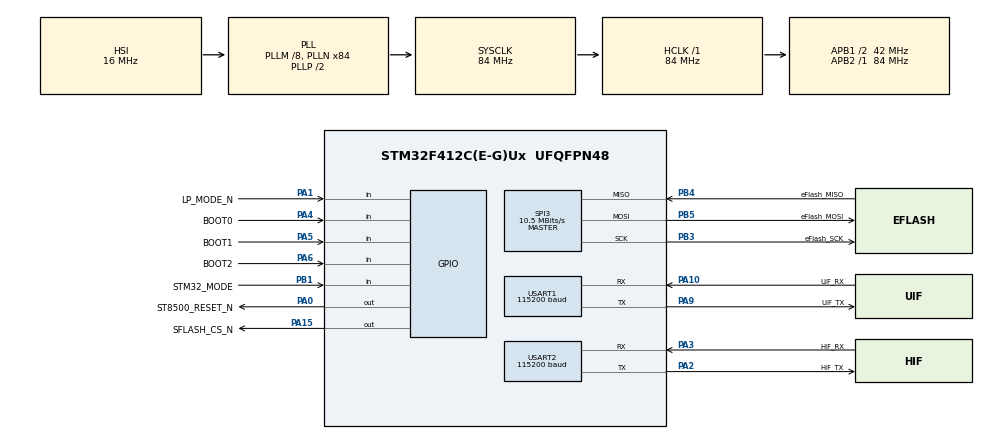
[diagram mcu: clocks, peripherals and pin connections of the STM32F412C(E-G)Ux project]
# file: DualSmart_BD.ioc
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Dma.Request0=SPI3_TX
Dma.Request1=SPI3_RX
Dma.Request2=USART2_RX
Dma.Request3=USART2_TX
Dma.Request4=USART1_TX
Dma.SPI3_RX.1.Direction=DMA_PERIPH_TO_MEMORY
Dma.SPI3_RX.1.FIFOMode=DMA_FIFOMODE_DISABLE
Dma.SPI3_RX.1.Instance=DMA1_Stream0
Dma.SPI3_RX.1.MemDataAlignment=DMA_MDATAALIGN_BYTE
Dma.SPI3_RX.1.MemInc=DMA_MINC_ENABLE
Dma.SPI3_RX.1.Mode=DMA_NORMAL
Dma.SPI3_RX.1.PeriphDataAlignment=DMA_PDATAALIGN_BYTE
Dma.SPI3_RX.1.PeriphInc=DMA_PINC_DISABLE
Dma.SPI3_RX.1.Priority=DMA_PRIORITY_HIGH
Dma.SPI3_TX.0.Direction=DMA_MEMORY_TO_PERIPH
Dma.SPI3_TX.0.FIFOMode=DMA_FIFOMODE_DISABLE
Dma.SPI3_TX.0.Instance=DMA1_Stream7
Dma.SPI3_TX.0.MemDataAlignment=DMA_MDATAALIGN_BYTE
Dma.SPI3_TX.0.MemInc=DMA_MINC_ENABLE
Dma.SPI3_TX.0.Mode=DMA_NORMAL
Dma.SPI3_TX.0.PeriphDataAlignment=DMA_PDATAALIGN_BYTE
Dma.SPI3_TX.0.PeriphInc=DMA_PINC_DISABLE
Dma.SPI3_TX.0.Priority=DMA_PRIORITY_LOW
Dma.USART1_TX.4.Direction=DMA_MEMORY_TO_PERIPH
Dma.USART1_TX.4.FIFOMode=DMA_FIFOMODE_DISABLE
Dma.USART1_TX.4.Instance=DMA2_Stream7
Dma.USART1_TX.4.MemDataAlignment=DMA_MDATAALIGN_BYTE
Dma.USART1_TX.4.MemInc=DMA_MINC_ENABLE
Dma.USART1_TX.4.Mode=DMA_NORMAL
Dma.USART1_TX.4.PeriphDataAlignment=DMA_PDATAALIGN_BYTE
Dma.USART1_TX.4.PeriphInc=DMA_PINC_DISABLE
Dma.USART1_TX.4.Priority=DMA_PRIORITY_LOW
Dma.USART2_RX.2.Direction=DMA_PERIPH_TO_MEMORY
Dma.USART2_RX.2.FIFOMode=DMA_FIFOMODE_DISABLE
Dma.USART2_RX.2.Instance=DMA1_Stream5
Dma.USART2_RX.2.MemDataAlignment=DMA_MDATAALIGN_BYTE
Dma.USART2_RX.2.MemInc=DMA_MINC_ENABLE
Dma.USART2_RX.2.Mode=DMA_NORMAL
Dma.USART2_RX.2.PeriphDataAlignment=DMA_PDATAALIGN_BYTE
Dma.USART2_RX.2.PeriphInc=DMA_PINC_DISABLE
Dma.USART2_RX.2.Priority=DMA_PRIORITY_VERY_HIGH
Dma.USART2_TX.3.Direction=DMA_MEMORY_TO_PERIPH
Dma.USART2_TX.3.FIFOMode=DMA_FIFOMODE_DISABLE
Dma.USART2_TX.3.Instance=DMA1_Stream6
Dma.USART2_TX.3.MemDataAlignment=DMA_MDATAALIGN_BYTE
Dma.USART2_TX.3.MemInc=DMA_MINC_ENABLE
Dma.USART2_TX.3.Mode=DMA_NORMAL
Dma.USART2_TX.3.PeriphDataAlignment=DMA_PDATAALIGN_BYTE
Dma.USART2_TX.3.PeriphInc=DMA_PINC_DISABLE
Dma.USART2_TX.3.Priority=DMA_PRIORITY_MEDIUM
FREERTOS.HEAP_NUMBER=4
FREERTOS.INCLUDE_eTaskGetState=1
FREERTOS.INCLUDE_pcTaskGetTaskName=0
FREERTOS.INCLUDE_uxTaskGetStackHighWaterMark=1
FREERTOS.INCLUDE_uxTaskGetStackHighWaterMark2=0
FREERTOS.INCLUDE_uxTaskPriorityGet=1
FREERTOS.INCLUDE_vTaskCleanUpResources=0
FREERTOS.INCLUDE_vTaskDelay=1
FREERTOS.INCLUDE_vTaskDelayUntil=1
FREERTOS.INCLUDE_vTaskDelete=1
FREERTOS.INCLUDE_vTaskPrioritySet=1
FREERTOS.INCLUDE_vTaskSuspend=1
FREERTOS.INCLUDE_xEventGroupSetBitFromISR=0
FREERTOS.INCLUDE_xQueueGetMutexHolder=1
FREERTOS.INCLUDE_xSemaphoreGetMutexHolder=0
FREERTOS.INCLUDE_xTaskAbortDelay=0
FREERTOS.INCLUDE_xTaskGetCurrentTaskHandle=1
FREERTOS.INCLUDE_xTaskGetHandle=0
FREERTOS.INCLUDE_xTaskGetSchedulerState=1
FREERTOS.INCLUDE_xTaskResumeFromISR=1
FREERTOS.INCLUDE_xTimerPendFunctionCall=1
FREERTOS.Mutexes01=custom_user_rx_mutex,Static,custom_user_rx_mutexControlBlock
FREERTOS.Tasks01=default_task,24,128,start_default_task,As weak,NULL,Static,default_taskBuffer,default_taskControlBlock;custom_user_rx_,8,128,start_custom_user_rx,As weak,&custom_user_rx_mutexHandle,Static,custom_user_rx_Buffer,custom_user_rx_ControlBlock
FREERTOS.configCHECK_FOR_STACK_OVERFLOW=2
FREERTOS.configENABLE_BACKWARD_COMPATIBILITY=0
FREERTOS.configENABLE_FPU=0
FREERTOS.configGENERATE_RUN_TIME_STATS=0
FREERTOS.configIDLE_SHOULD_YIELD=1
FREERTOS.configLIBRARY_LOWEST_INTERRUPT_PRIORITY=15
FREERTOS.configLIBRARY_MAX_SYSCALL_INTERRUPT_PRIORITY=5
FREERTOS.configMAX_CO_ROUTINE_PRIORITIES=2
FREERTOS.configMAX_TASK_NAME_LEN=16
FREERTOS.configMINIMAL_STACK_SIZE=128
FREERTOS.configQUEUE_REGISTRY_SIZE=0
FREERTOS.configRECORD_STACK_HIGH_ADDRESS=1
FREERTOS.configTICK_RATE_HZ=1000
FREERTOS.configTIMER_QUEUE_LENGTH=8
FREERTOS.configTIMER_TASK_PRIORITY=2
FREERTOS.configTIMER_TASK_STACK_DEPTH=200
FREERTOS.configTOTAL_HEAP_SIZE=1024
FREERTOS.configUSE_APPLICATION_TASK_TAG=0
FREERTOS.configUSE_COUNTING_SEMAPHORES=1
FREERTOS.configUSE_CO_ROUTINES=0
FREERTOS.configUSE_DAEMON_TASK_STARTUP_HOOK=0
FREERTOS.configUSE_IDLE_HOOK=0
FREERTOS.configUSE_MALLOC_FAILED_HOOK=1
FREERTOS.configUSE_MUTEXES=1
FREERTOS.configUSE_NEWLIB_REENTRANT=1
FREERTOS.configUSE_OS2_EVENTFLAGS_FROM_ISR=1
FREERTOS.configUSE_OS2_MUTEX=1
FREERTOS.configUSE_OS2_THREAD_ENUMERATE=1
FREERTOS.configUSE_OS2_THREAD_FLAGS=1
FREERTOS.configUSE_OS2_THREAD_SUSPEND_RESUME=1
FREERTOS.configUSE_OS2_TIMER=1
FREERTOS.configUSE_POSIX_ERRNO=0
FREERTOS.configUSE_PREEMPTION=1
FREERTOS.configUSE_RECURSIVE_MUTEXES=1
FREERTOS.configUSE_STATS_FORMATTING_FUNCTIONS=0
FREERTOS.configUSE_TASK_NOTIFICATIONS=1
FREERTOS.configUSE_TICKLESS_IDLE=0
FREERTOS.configUSE_TICK_HOOK=0
FREERTOS.configUSE_TRACE_FACILITY=1
FREERTOS.copyHeapFile=1
Mcu.Family=STM32F4
Mcu.Name=STM32F412C(E-G)Ux
Mcu.Package=UFQFPN48
Mcu.UserConstants=huartHostIf,huart2;hspiSFlash,hspi3;htimSys,htim11;huartUserIf,huart1
NVIC.DMA1_Stream0_IRQn=true\:5\:0\:true\:false\:true\:true\:true\:true\:true
NVIC.DMA1_Stream5_IRQn=true\:5\:0\:true\:false\:true\:true\:true\:true\:true
NVIC.DMA1_Stream6_IRQn=true\:5\:0\:true\:false\:true\:true\:true\:true\:true
NVIC.DMA1_Stream7_IRQn=true\:5\:0\:true\:false\:true\:false\:true\:true\:true
NVIC.DMA2_Stream7_IRQn=true\:5\:0\:true\:false\:true\:true\:true\:true\:true
NVIC.PriorityGroup=NVIC_PRIORITYGROUP_4
NVIC.TIM1_TRG_COM_TIM11_IRQn=true\:15\:0\:false\:false\:true\:false\:true\:true\:true
NVIC.TimeBase=TIM1_TRG_COM_TIM11_IRQn
NVIC.TimeBaseIP=TIM11
NVIC.USART1_IRQn=true\:5\:0\:true\:false\:true\:true\:true\:true\:true
NVIC.USART2_IRQn=true\:5\:0\:true\:false\:true\:true\:true\:true\:true
PA0.GPIO_Label=ST8500_RESET_N
PA0.PinState=GPIO_PIN_RESET
PA0.Signal=GPIO_Output
PA1.GPIO_Label=LP_MODE_N
PA1.Signal=GPIO_Input
PA10.GPIO_Label=UIF_RX
PA10.GPIO_PuPd=GPIO_PULLUP
PA10.GPIO_Speed=GPIO_SPEED_FREQ_VERY_HIGH
PA10.Mode=Asynchronous
PA10.Signal=USART1_RX
PA13.GPIO_Label=SYS_SWDIO
PA13.Mode=Serial_Wire
PA13.Signal=SYS_JTMS-SWDIO
PA14.GPIO_Label=SYS_SWCLK
PA14.Mode=Serial_Wire
PA14.Signal=SYS_JTCK-SWCLK
PA15.GPIO_Label=SFLASH_CS_N
PA15.GPIO_Speed=GPIO_SPEED_FREQ_VERY_HIGH
PA15.Signal=GPIO_Output
PA2.GPIO_Label=HIF_TX
PA2.GPIO_PuPd=GPIO_PULLUP
PA2.GPIO_Speed=GPIO_SPEED_FREQ_VERY_HIGH
PA2.Mode=Asynchronous
PA2.Signal=USART2_TX
PA3.GPIO_Label=HIF_RX
PA3.GPIO_PuPd=GPIO_PULLUP
PA3.GPIO_Speed=GPIO_SPEED_FREQ_VERY_HIGH
PA3.Mode=Asynchronous
PA3.Signal=USART2_RX
PA4.GPIO_Label=BOOT0
PA4.Signal=GPIO_Input
PA5.GPIO_Label=BOOT1
PA5.Signal=GPIO_Input
PA6.GPIO_Label=BOOT2
PA6.Signal=GPIO_Input
PA9.GPIO_Label=UIF_TX
PA9.GPIO_PuPd=GPIO_PULLUP
PA9.GPIO_Speed=GPIO_SPEED_FREQ_VERY_HIGH
PA9.Mode=Asynchronous
PA9.Signal=USART1_TX
PB1.GPIO_Label=STM32_MODE
PB1.GPIO_PuPd=GPIO_PULLDOWN
PB1.Signal=GPIO_Input
PB3.GPIO_Label=eFlash_SCK
PB3.GPIO_PuPd=GPIO_NOPULL
PB3.GPIO_Speed=GPIO_SPEED_FREQ_VERY_HIGH
PB3.Mode=Full_Duplex_Master
PB3.Signal=SPI3_SCK
PB4.GPIO_Label=eFlash_MISO
PB4.GPIO_PuPd=GPIO_NOPULL
PB4.GPIO_Speed=GPIO_SPEED_FREQ_VERY_HIGH
PB4.Mode=Full_Duplex_Master
PB4.Signal=SPI3_MISO
PB5.GPIO_Label=eFlash_MOSI
PB5.GPIO_PuPd=GPIO_NOPULL
PB5.GPIO_Speed=GPIO_SPEED_FREQ_VERY_HIGH
PB5.Mode=Full_Duplex_Master
PB5.Signal=SPI3_MOSI
ProjectManager.HeapSize=0x0
ProjectManager.StackSize=0x400
ProjectManager.TargetToolchain=STM32CubeIDE
RCC.AHBFreq_Value=84000000
RCC.APB1CLKDivider=RCC_HCLK_DIV2
RCC.APB1Freq_Value=42000000
RCC.APB1TimFreq_Value=84000000
RCC.APB2Freq_Value=84000000
RCC.APB2TimFreq_Value=84000000
RCC.CortexFreq_Value=84000000
RCC.FLatency=FLASH_LATENCY_2
RCC.HCLKFreq_Value=84000000
RCC.PLLM=8
RCC.PLLN=84
RCC.SYSCLKFreq_VALUE=84000000
RCC.SYSCLKSource=RCC_SYSCLKSOURCE_PLLCLK
RCC.USBFreq_Value=84000000
RCC.VCOOutputFreq_Value=168000000
SPI3.BaudRatePrescaler=SPI_BAUDRATEPRESCALER_4
SPI3.CLKPhase=SPI_PHASE_2EDGE
SPI3.CLKPolarity=SPI_POLARITY_HIGH
SPI3.CRCCalculation=SPI_CRCCALCULATION_DISABLE
SPI3.CalculateBaudRate=10.5 MBits/s
SPI3.DataSize=SPI_DATASIZE_8BIT
SPI3.Direction=SPI_DIRECTION_2LINES
SPI3.FirstBit=SPI_FIRSTBIT_MSB
SPI3.Mode=SPI_MODE_MASTER
SPI3.NSS=SPI_NSS_SOFT
SPI3.TIMode=SPI_TIMODE_DISABLE
SPI3.VirtualType=VM_MASTER
USART1.BaudRate=115200
USART1.Mode=MODE_TX_RX
USART1.OverSampling=UART_OVERSAMPLING_16
USART1.Parity=PARITY_NONE
USART1.StopBits=STOPBITS_1
USART1.VirtualMode=VM_ASYNC
USART1.WordLength=WORDLENGTH_8B
USART2.BaudRate=115200
USART2.Mode=MODE_TX_RX
USART2.OverSampling=UART_OVERSAMPLING_16
USART2.Parity=PARITY_NONE
USART2.StopBits=STOPBITS_1
USART2.VirtualMode=VM_ASYNC
USART2.WordLength=WORDLENGTH_8B
VP_FREERTOS_VS_CMSIS_V2.Mode=CMSIS_V2
VP_SYS_VS_tim11.Mode=TIM11
board=NUCLEO-G070RB

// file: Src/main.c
/* USER CODE BEGIN Header */
/**
  ******************************************************************************
  * @file           : main.c
  * @brief          : Main program body
  ******************************************************************************
  * @attention
  *
  * <h2><center>&copy; Copyright (c) 2020 STMicroelectronics.
  * All rights reserved.</center></h2>
  *
  * This software component is licensed by ST under Ultimate Liberty license
  * SLA0044, the "License"; You may not use this file except in compliance with
  * the License. You may obtain a copy of the License at:
  *                             www.st.com/SLA0044
  *
  ******************************************************************************
  */
/* USER CODE END Header */
#include "main.h"
#include "cmsis_os.h"
#include "dma.h"
#include "spi.h"
#include "usart.h"
#include "gpio.h"

/* USER CODE BEGIN Includes */
#include <string.h>
#include <mem_pool.h>
#include <utils.h>
#include <debug_print.h>
#include <pin_management.h>
#include <image_download.h>
#include <passthrough.h>
#include <print_task.h>
#include <porting.h>

/* USER CODE END Includes */

void SystemClock_Config(void);
void MX_FREERTOS_Init(void);

int main(void)
{

  /* MCU Configuration--------------------------------------------------------*/

  /* Reset of all peripherals, Initializes the Flash interface and the Systick. */
  HAL_Init();

  /* Configure the system clock */
  SystemClock_Config();

  /* Initialize all configured peripherals */
  MX_GPIO_Init();
  MX_DMA_Init();
  MX_USART1_UART_Init();
  MX_USART2_UART_Init();
  MX_SPI3_Init();
  /* USER CODE BEGIN 2 */

	mem_pool_init();

#if RESET_AT_START
	/* Put ST8500 under reset  */
	assertResetOnST8500();
#endif /* RESET_AT_START */

	/* Reads the boot mode for ST8500 */
	bool download_requested    = (readBootModeST8500() == ST8500_BOOT_FROM_UART);

#if ENABLE_LPMODE
	GPIO_InitTypeDef GPIO_InitStruct = IN_PIN_STR(ST8500_LPMODE_Pin);
	HAL_GPIO_Init(ST8500_LPMODE_GPIO_Port, &GPIO_InitStruct);
#endif /* ENABLE_LPMODE */

	/* Sets the BOOT pins as output and sets their value, according to the boot modes */
	setBootPinsAsOutput(download_requested);
#if RESET_AT_START
	/* Wait for the GPIO to stabilize */
	utils_delay_ms(RESET_PULSE_DURATION);

	/* Releases ST8500 reset and loads its images */
	deassertResetOnST8500();

#endif /* RESET_AT_START */

#if ENABLE_DOWNLOAD
	/* If the ST8500 boots from UART, downloads the image */
	if (download_requested == true)
	{
		/* Downloads both the PE and RTE the images to ST8500 */
		downloadImageToST8500();
	}
	else
	{
		PRINT(RESET_DISPLAY_STRING);
	}
#endif /* ENABLE_DOWNLOAD */
	passthrough_mode();

  /* USER CODE END 2 */

  /* Init scheduler */
  osKernelInitialize();

  /* Call init function for freertos objects (in freertos.c) */
  MX_FREERTOS_Init();

  /* Start scheduler */
  osKernelStart();

  /* We should never get here as control is now taken by the scheduler */
  /* Infinite loop */
  while (1)
  {

  }
}

void SystemClock_Config(void)
{
  RCC_OscInitTypeDef RCC_OscInitStruct = {0};
  RCC_ClkInitTypeDef RCC_ClkInitStruct = {0};

  /** Configure the main internal regulator output voltage
  */
  __HAL_RCC_PWR_CLK_ENABLE();
  __HAL_PWR_VOLTAGESCALING_CONFIG(PWR_REGULATOR_VOLTAGE_SCALE1);

  /** Initializes the RCC Oscillators according to the specified parameters
  * in the RCC_OscInitTypeDef structure.
  */
  RCC_OscInitStruct.OscillatorType = RCC_OSCILLATORTYPE_HSI;
  RCC_OscInitStruct.HSIState = RCC_HSI_ON;
  RCC_OscInitStruct.HSICalibrationValue = RCC_HSICALIBRATION_DEFAULT;
  RCC_OscInitStruct.PLL.PLLState = RCC_PLL_ON;
  RCC_OscInitStruct.PLL.PLLSource = RCC_PLLSOURCE_HSI;
  RCC_OscInitStruct.PLL.PLLM = 8;
  RCC_OscInitStruct.PLL.PLLN = 84;
  RCC_OscInitStruct.PLL.PLLP = RCC_PLLP_DIV2;
  RCC_OscInitStruct.PLL.PLLQ = 2;
  RCC_OscInitStruct.PLL.PLLR = 2;
  if (HAL_RCC_OscConfig(&RCC_OscInitStruct) != HAL_OK)
  {
    Error_Handler();
  }

  /** Initializes the CPU, AHB and APB buses clocks
  */
  RCC_ClkInitStruct.ClockType = RCC_CLOCKTYPE_HCLK|RCC_CLOCKTYPE_SYSCLK
                              |RCC_CLOCKTYPE_PCLK1|RCC_CLOCKTYPE_PCLK2;
  RCC_ClkInitStruct.SYSCLKSource = RCC_SYSCLKSOURCE_PLLCLK;
  RCC_ClkInitStruct.AHBCLKDivider = RCC_SYSCLK_DIV1;
  RCC_ClkInitStruct.APB1CLKDivider = RCC_HCLK_DIV2;
  RCC_ClkInitStruct.APB2CLKDivider = RCC_HCLK_DIV1;

  if (HAL_RCC_ClockConfig(&RCC_ClkInitStruct, FLASH_LATENCY_2) != HAL_OK)
  {
    Error_Handler();
  }
}

void HAL_TIM_PeriodElapsedCallback(TIM_HandleTypeDef *htim)
{
  if (htim->Instance == TIM11) {
    HAL_IncTick();
  }
}

void Error_Handler(void)
{
  /* USER CODE BEGIN Error_Handler_Debug */
	/* Freeze the firmware execution, switching on all LEDs */
	__disable_irq();
	while(1);

  /* USER CODE END Error_Handler_Debug */
}

#ifdef  USE_FULL_ASSERT
/**
  * @brief  Reports the name of the source file and the source line number
  *         where the assert_param error has occurred.
  * @param  file: pointer to the source file name
  * @param  line: assert_param error line source number
  * @retval None
  */
void assert_failed(uint8_t *file, uint32_t line)
{
  /* USER CODE BEGIN 6 */
  PRINT("Wrong parameters value: file %s on line %lu.\n", file, line);
  /* USER CODE END 6 */
}
#endif /* USE_FULL_ASSERT */

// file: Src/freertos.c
/* USER CODE BEGIN Header */
/**
  ******************************************************************************
  * File Name          : freertos.c
  * Description        : Code for freertos applications
  ******************************************************************************
  * @attention
  *
  * Copyright (c) 2024 STMicroelectronics.
  * All rights reserved.
  *
  * This software is licensed under terms that can be found in the LICENSE file
  * in the root directory of this software component.
  * If no LICENSE file comes with this software, it is provided AS-IS.
  *
  ******************************************************************************
  */
/* USER CODE END Header */

#include "FreeRTOS.h"
#include "task.h"
#include "main.h"
#include "cmsis_os.h"

typedef StaticTask_t osStaticThreadDef_t;
typedef StaticSemaphore_t osStaticMutexDef_t;

/* Definitions for default_task */
osThreadId_t default_taskHandle;
uint32_t default_taskBuffer[ 128 ];
osStaticThreadDef_t default_taskControlBlock;
const osThreadAttr_t default_task_attributes = {
  .name = "default_task",
  .cb_mem = &default_taskControlBlock,
  .cb_size = sizeof(default_taskControlBlock),
  .stack_mem = &default_taskBuffer[0],
  .stack_size = sizeof(default_taskBuffer),
  .priority = (osPriority_t) osPriorityNormal,
};
/* Definitions for custom_user_rx_ */
osThreadId_t custom_user_rx_Handle;
uint32_t custom_user_rx_Buffer[ 128 ];
osStaticThreadDef_t custom_user_rx_ControlBlock;
const osThreadAttr_t custom_user_rx__attributes = {
  .name = "custom_user_rx_",
  .cb_mem = &custom_user_rx_ControlBlock,
  .cb_size = sizeof(custom_user_rx_ControlBlock),
  .stack_mem = &custom_user_rx_Buffer[0],
  .stack_size = sizeof(custom_user_rx_Buffer),
  .priority = (osPriority_t) osPriorityLow,
};
/* Definitions for custom_user_rx_mutex */
osMutexId_t custom_user_rx_mutexHandle;
osStaticMutexDef_t custom_user_rx_mutexControlBlock;
const osMutexAttr_t custom_user_rx_mutex_attributes = {
  .name = "custom_user_rx_mutex",
  .cb_mem = &custom_user_rx_mutexControlBlock,
  .cb_size = sizeof(custom_user_rx_mutexControlBlock),
};

/* USER CODE BEGIN FunctionPrototypes */

/* Default FreeRTOS initialization */
extern void FreeRTOS_DefaultInit(void);

/* USER CODE END FunctionPrototypes */

void start_default_task(void *argument);
void start_custom_user_rx(void *argument);

void MX_FREERTOS_Init(void); /* (MISRA C 2004 rule 8.1) */

/* Hook prototypes */
void vApplicationStackOverflowHook(TaskHandle_t xTask, signed char *pcTaskName);
void vApplicationMallocFailedHook(void);

/* USER CODE BEGIN 4 */
void vApplicationStackOverflowHook(TaskHandle_t xTask, signed char *pcTaskName)
{
   /* Run time stack overflow checking is performed if
   configCHECK_FOR_STACK_OVERFLOW is defined to 1 or 2. This hook function is
   called if a stack overflow is detected. */
	UNUSED(xTask);
	UNUSED(pcTaskName);
	Error_Handler();
}
/* USER CODE END 4 */

/* USER CODE BEGIN 5 */
void vApplicationMallocFailedHook(void)
{
	/* vApplicationMallocFailedHook() will only be called if
	configUSE_MALLOC_FAILED_HOOK is set to 1 in FreeRTOSConfig.h. It is a hook
	function that will get called if a call to pvPortMalloc() fails.
	pvPortMalloc() is called internally by the kernel whenever a task, queue,
	timer or semaphore is created. It is also called by various parts of the
	demo application. If heap_1.c or heap_2.c are used, then the size of the
	heap available to pvPortMalloc() is defined by configTOTAL_HEAP_SIZE in
	FreeRTOSConfig.h, and the xPortGetFreeHeapSize() API function can be used
	to query the size of free heap space that remains (although it does not
	provide information on how the remaining heap might be fragmented). */

	Error_Handler();
}
/* USER CODE END 5 */

void MX_FREERTOS_Init(void) {
  /* USER CODE BEGIN Init */

  FreeRTOS_DefaultInit();

  /* USER CODE END Init */
  /* Create the mutex(es) */
  /* creation of custom_user_rx_mutex */
  custom_user_rx_mutexHandle = osMutexNew(&custom_user_rx_mutex_attributes);

  /* Create the thread(s) */
  /* creation of default_task */
  default_taskHandle = osThreadNew(start_default_task, NULL, &default_task_attributes);

  /* creation of custom_user_rx_ */
  custom_user_rx_Handle = osThreadNew(start_custom_user_rx, (void*) &custom_user_rx_mutexHandle, &custom_user_rx__attributes);

  /* USER CODE BEGIN RTOS_THREADS */
  /* add threads, ... */

	if (default_taskHandle == NULL)
	{
		Error_Handler();
	}

  /* USER CODE END RTOS_THREADS */

}

__weak void start_default_task(void *argument)
{
  /* USER CODE BEGIN start_default_task */
	UNUSED(argument);
  /* Infinite loop */
  for(;;)
  {
    osDelay(1);
  }
  /* USER CODE END start_default_task */
}

__weak void start_custom_user_rx(void *argument)
{
  for(;;)
  {
    osDelay(1);
  }
}
